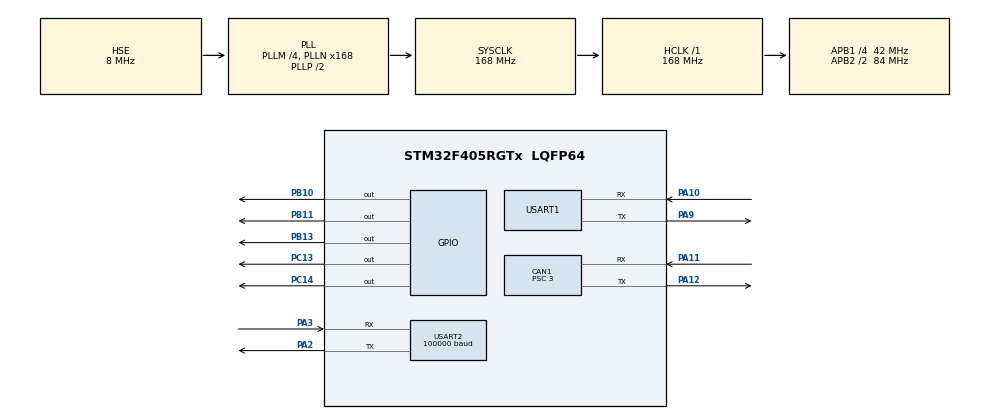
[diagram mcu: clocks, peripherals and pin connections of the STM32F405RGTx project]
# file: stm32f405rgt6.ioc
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CAN1.ABOM=ENABLE
CAN1.BS1=CAN_BS1_9TQ
CAN1.BS2=CAN_BS2_4TQ
CAN1.CalculateBaudRate=1000000
CAN1.CalculateTimeBit=1000
CAN1.CalculateTimeQuantum=71.42857142857143
CAN1.Mode=CAN_MODE_NORMAL
CAN1.Prescaler=3
Dma.Request0=USART2_RX
Dma.Request1=USART2_TX
Dma.Request2=USART1_RX
Dma.Request3=USART1_TX
Dma.USART1_RX.2.Direction=DMA_PERIPH_TO_MEMORY
Dma.USART1_RX.2.FIFOMode=DMA_FIFOMODE_DISABLE
Dma.USART1_RX.2.Instance=DMA2_Stream2
Dma.USART1_RX.2.MemDataAlignment=DMA_MDATAALIGN_BYTE
Dma.USART1_RX.2.MemInc=DMA_MINC_ENABLE
Dma.USART1_RX.2.Mode=DMA_NORMAL
Dma.USART1_RX.2.PeriphDataAlignment=DMA_PDATAALIGN_BYTE
Dma.USART1_RX.2.PeriphInc=DMA_PINC_DISABLE
Dma.USART1_RX.2.Priority=DMA_PRIORITY_LOW
Dma.USART1_TX.3.Direction=DMA_MEMORY_TO_PERIPH
Dma.USART1_TX.3.FIFOMode=DMA_FIFOMODE_DISABLE
Dma.USART1_TX.3.Instance=DMA2_Stream7
Dma.USART1_TX.3.MemDataAlignment=DMA_MDATAALIGN_BYTE
Dma.USART1_TX.3.MemInc=DMA_MINC_ENABLE
Dma.USART1_TX.3.Mode=DMA_NORMAL
Dma.USART1_TX.3.PeriphDataAlignment=DMA_PDATAALIGN_BYTE
Dma.USART1_TX.3.PeriphInc=DMA_PINC_DISABLE
Dma.USART1_TX.3.Priority=DMA_PRIORITY_LOW
Dma.USART2_RX.0.Direction=DMA_PERIPH_TO_MEMORY
Dma.USART2_RX.0.FIFOMode=DMA_FIFOMODE_DISABLE
Dma.USART2_RX.0.Instance=DMA1_Stream5
Dma.USART2_RX.0.MemDataAlignment=DMA_MDATAALIGN_BYTE
Dma.USART2_RX.0.MemInc=DMA_MINC_ENABLE
Dma.USART2_RX.0.Mode=DMA_CIRCULAR
Dma.USART2_RX.0.PeriphDataAlignment=DMA_PDATAALIGN_BYTE
Dma.USART2_RX.0.PeriphInc=DMA_PINC_DISABLE
Dma.USART2_RX.0.Priority=DMA_PRIORITY_LOW
Dma.USART2_TX.1.Direction=DMA_MEMORY_TO_PERIPH
Dma.USART2_TX.1.FIFOMode=DMA_FIFOMODE_DISABLE
Dma.USART2_TX.1.Instance=DMA1_Stream6
Dma.USART2_TX.1.MemDataAlignment=DMA_MDATAALIGN_BYTE
Dma.USART2_TX.1.MemInc=DMA_MINC_ENABLE
Dma.USART2_TX.1.Mode=DMA_NORMAL
Dma.USART2_TX.1.PeriphDataAlignment=DMA_PDATAALIGN_BYTE
Dma.USART2_TX.1.PeriphInc=DMA_PINC_DISABLE
Dma.USART2_TX.1.Priority=DMA_PRIORITY_LOW
FREERTOS.INCLUDE_vTaskDelayUntil=1
FREERTOS.Queues01=led_control_queue,5,2,1,Static,led_control_queueBuffer,led_control_queueControlBlock;can_rx_queue,5,9,1,Dynamic,NULL,NULL
FREERTOS.Tasks01=defaultTask,-3,128,StartDefaultTask,Default,NULL,Dynamic,NULL,NULL;breathing_led_t,-3,128,led_breath,As weak,NULL,Dynamic,NULL,NULL;mpu_read_task,0,128,mpu6050_read,As weak,NULL,Dynamic,NULL,NULL;can1_rx_task,1,128,can1_rx,As weak,NULL,Dynamic,NULL,NULL;sbus_rx_task,2,128,sbus_receive,As weak,NULL,Dynamic,NULL,NULL;bopan_motor_tas,-1,128,bopan_motor_set,As weak,NULL,Dynamic,NULL,NULL
Mcu.Family=STM32F4
Mcu.Name=STM32F405RGTx
Mcu.Package=LQFP64
NVIC.CAN1_RX0_IRQn=true\:5\:0\:true\:false\:true\:true\:true\:true\:true
NVIC.DMA1_Stream5_IRQn=true\:6\:0\:true\:false\:true\:true\:false\:true\:true
NVIC.DMA1_Stream6_IRQn=true\:6\:0\:true\:false\:true\:true\:false\:true\:true
NVIC.DMA2_Stream2_IRQn=true\:5\:0\:false\:false\:true\:true\:false\:true\:true
NVIC.DMA2_Stream7_IRQn=true\:5\:0\:false\:false\:true\:true\:false\:true\:true
NVIC.PriorityGroup=NVIC_PRIORITYGROUP_4
NVIC.TIM5_IRQn=true\:15\:0\:true\:false\:true\:false\:true\:true\:true
NVIC.TIM6_DAC_IRQn=true\:0\:0\:true\:false\:true\:false\:false\:true\:true
NVIC.TimeBase=TIM6_DAC_IRQn
NVIC.TimeBaseIP=TIM6
NVIC.USART1_IRQn=true\:5\:0\:false\:false\:true\:true\:true\:true\:true
NVIC.USART2_IRQn=true\:7\:0\:true\:false\:true\:true\:true\:true\:true
PA10.Mode=Asynchronous
PA10.Signal=USART1_RX
PA11.GPIO_PuPd=GPIO_PULLUP
PA11.Mode=CAN_Activate
PA11.Signal=CAN1_RX
PA12.Mode=CAN_Activate
PA12.Signal=CAN1_TX
PA13.Mode=Serial_Wire
PA13.Signal=SYS_JTMS-SWDIO
PA14.Mode=Serial_Wire
PA14.Signal=SYS_JTCK-SWCLK
PA2.Mode=Asynchronous
PA2.Signal=USART2_TX
PA3.Mode=Asynchronous
PA3.Signal=USART2_RX
PA9.Mode=Asynchronous
PA9.Signal=USART1_TX
PB10.Signal=GPIO_Output
PB11.Signal=GPIO_Output
PB13.Signal=GPIO_Output
PC13-ANTI_TAMP.Signal=GPIO_Output
PC14-OSC32_IN.PinState=GPIO_PIN_SET
PC14-OSC32_IN.Signal=GPIO_Output
PH0-OSC_IN.Mode=HSE-External-Oscillator
PH0-OSC_IN.Signal=RCC_OSC_IN
PH1-OSC_OUT.Mode=HSE-External-Oscillator
PH1-OSC_OUT.Signal=RCC_OSC_OUT
ProjectManager.HeapSize=0x800
ProjectManager.StackSize=0x1200
ProjectManager.TargetToolchain=MDK-ARM V5.32
RCC.48MHZClocksFreq_Value=84000000
RCC.AHBFreq_Value=168000000
RCC.APB1CLKDivider=RCC_HCLK_DIV4
RCC.APB1Freq_Value=42000000
RCC.APB1TimFreq_Value=84000000
RCC.APB2CLKDivider=RCC_HCLK_DIV2
RCC.APB2Freq_Value=84000000
RCC.APB2TimFreq_Value=168000000
RCC.CortexFreq_Value=168000000
RCC.HCLKFreq_Value=168000000
RCC.HSE_VALUE=8000000
RCC.HSI_VALUE=16000000
RCC.LSE_VALUE=32768
RCC.PLLM=4
RCC.PLLN=168
RCC.PLLSourceVirtual=RCC_PLLSOURCE_HSE
RCC.SYSCLKFreq_VALUE=168000000
RCC.SYSCLKSource=RCC_SYSCLKSOURCE_PLLCLK
RCC.VCOOutputFreq_Value=336000000
TIM5.Period=10-1
TIM5.Prescaler=168-1
USART1.VirtualMode=VM_ASYNC
USART2.BaudRate=100000
USART2.Mode=MODE_TX_RX
USART2.Parity=PARITY_NONE
USART2.VirtualMode=VM_ASYNC
USART2.WordLength=WORDLENGTH_9B
VP_FREERTOS_VS_CMSIS_V1.Mode=CMSIS_V1
VP_SYS_VS_tim6.Mode=TIM6
VP_TIM5_VS_ClockSourceINT.Mode=Internal
board=custom

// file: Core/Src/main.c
/* USER CODE BEGIN Header */
/**
  ******************************************************************************
  * @file           : main.c
  * @brief          : Main program body
  ******************************************************************************
  * @attention
  *
  * Copyright (c) 2025 STMicroelectronics.
  * All rights reserved.
  *
  * This software is licensed under terms that can be found in the LICENSE file
  * in the root directory of this software component.
  * If no LICENSE file comes with this software, it is provided AS-IS.
  *
  ******************************************************************************
  */
/* USER CODE END Header */
#include "main.h"
#include "cmsis_os.h"
#include "can.h"
#include "dma.h"
#include "tim.h"
#include "usart.h"
#include "gpio.h"

/* USER CODE BEGIN Includes */
#include "ble.h"
#include "inv_mpu.h"
#include "bsp_can.h"
#include "task_self.h"
#include "SEGGER_SYSVIEW.h"
/* USER CODE END Includes */

void SystemClock_Config(void);
void MX_FREERTOS_Init(void);

int main(void)
{

  /* MCU Configuration--------------------------------------------------------*/

  /* Reset of all peripherals, Initializes the Flash interface and the Systick. */
  HAL_Init();

  /* Configure the system clock */
  SystemClock_Config();

  /* Initialize all configured peripherals */
  MX_GPIO_Init();
  MX_DMA_Init();
  MX_USART1_UART_Init();
  MX_TIM5_Init();
  MX_CAN1_Init();
  MX_USART2_UART_Init();
  /* USER CODE BEGIN 2 */
	//1.串口
	ble_Init();
	//2.pwm
	HAL_TIM_Base_Start_IT(&htim5);

	//3.mpu
	//MPU_Init();
    //由于自己的开发版没有板载MPU6050,故注释掉相关初始化代码
	//mpu_dmp_init();
	//4.can
	can1_filter_init();
	can2_filter_init();

    // 5. 启动 SystemView 记录
    // 建议加一个判断，只有在连接了调试器时才记录，避免不调试时占资源（可选）
    SEGGER_SYSVIEW_Conf();  // 配置
    //SEGGER_SYSVIEW_Start(); // 启动
  /* USER CODE END 2 */

  /* Call init function for freertos objects (in cmsis_os2.c) */
  MX_FREERTOS_Init();

  /* Start scheduler */
  osKernelStart();

  /* We should never get here as control is now taken by the scheduler */

  /* Infinite loop */
  while (1)
  {

  }
}

void SystemClock_Config(void)
{
  RCC_OscInitTypeDef RCC_OscInitStruct = {0};
  RCC_ClkInitTypeDef RCC_ClkInitStruct = {0};

  /** Configure the main internal regulator output voltage
  */
  __HAL_RCC_PWR_CLK_ENABLE();
  __HAL_PWR_VOLTAGESCALING_CONFIG(PWR_REGULATOR_VOLTAGE_SCALE1);

  /** Initializes the RCC Oscillators according to the specified parameters
  * in the RCC_OscInitTypeDef structure.
  */
  RCC_OscInitStruct.OscillatorType = RCC_OSCILLATORTYPE_HSE;
  RCC_OscInitStruct.HSEState = RCC_HSE_ON;
  RCC_OscInitStruct.PLL.PLLState = RCC_PLL_ON;
  RCC_OscInitStruct.PLL.PLLSource = RCC_PLLSOURCE_HSE;
  RCC_OscInitStruct.PLL.PLLM = 4;
  RCC_OscInitStruct.PLL.PLLN = 168;
  RCC_OscInitStruct.PLL.PLLP = RCC_PLLP_DIV2;
  RCC_OscInitStruct.PLL.PLLQ = 4;
  if (HAL_RCC_OscConfig(&RCC_OscInitStruct) != HAL_OK)
  {
    Error_Handler();
  }

  /** Initializes the CPU, AHB and APB buses clocks
  */
  RCC_ClkInitStruct.ClockType = RCC_CLOCKTYPE_HCLK|RCC_CLOCKTYPE_SYSCLK
                              |RCC_CLOCKTYPE_PCLK1|RCC_CLOCKTYPE_PCLK2;
  RCC_ClkInitStruct.SYSCLKSource = RCC_SYSCLKSOURCE_PLLCLK;
  RCC_ClkInitStruct.AHBCLKDivider = RCC_SYSCLK_DIV1;
  RCC_ClkInitStruct.APB1CLKDivider = RCC_HCLK_DIV4;
  RCC_ClkInitStruct.APB2CLKDivider = RCC_HCLK_DIV2;

  if (HAL_RCC_ClockConfig(&RCC_ClkInitStruct, FLASH_LATENCY_5) != HAL_OK)
  {
    Error_Handler();
  }
}

void HAL_TIM_PeriodElapsedCallback(TIM_HandleTypeDef *htim)
{
  if (htim->Instance == TIM6)
  {
    HAL_IncTick();
  }
  /* USER CODE BEGIN Callback 1 */
 if (htim->Instance == TIM5)
	{
		//led_pwm软件,tim_f=1mhz/10=100khz,pwm_f=100khz/100=1khz
		static uint8_t pwm_counter = 0;
		if (pwm_counter < g_led_brightness) {
				//HAL_GPIO_WritePin(GPIOC, GPIO_PIN_13, GPIO_PIN_RESET);
				HAL_GPIO_WritePin(GPIOB, GPIO_PIN_13, GPIO_PIN_RESET);
		}
		else {
				//HAL_GPIO_WritePin(GPIOC, GPIO_PIN_13, GPIO_PIN_SET);
				HAL_GPIO_WritePin(GPIOB, GPIO_PIN_13, GPIO_PIN_SET);
		}
		pwm_counter++;
		if (pwm_counter >= 100) {
				pwm_counter = 0;
		}
	}
  /* USER CODE END Callback 1 */
}

void Error_Handler(void)
{
  __disable_irq();
  while (1)
  {
  }
}

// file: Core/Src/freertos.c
/* USER CODE BEGIN Header */
/**
  ******************************************************************************
  * File Name          : freertos.c
  * Description        : Code for freertos applications
  ******************************************************************************
  * @attention
  *
  * Copyright (c) 2025 STMicroelectronics.
  * All rights reserved.
  *
  * This software is licensed under terms that can be found in the LICENSE file
  * in the root directory of this software component.
  * If no LICENSE file comes with this software, it is provided AS-IS.
  *
  ******************************************************************************
  */
/* USER CODE END Header */

#include "FreeRTOS.h"
#include "task.h"
#include "main.h"
#include "cmsis_os.h"

osThreadId defaultTaskHandle;
osThreadId breathing_led_tHandle;
osThreadId mpu_read_taskHandle;
osThreadId can1_rx_taskHandle;
osThreadId sbus_rx_taskHandle;
osThreadId bopan_motor_tasHandle;
osMessageQId led_control_queueHandle;
uint8_t led_control_queueBuffer[ 5 * 2 ];
osStaticMessageQDef_t led_control_queueControlBlock;
osMessageQId can_rx_queueHandle;

void StartDefaultTask(void const * argument);
void led_breath(void const * argument);
void mpu6050_read(void const * argument);
void can1_rx(void const * argument);
void sbus_receive(void const * argument);
void bopan_motor_set(void const * argument);

void MX_FREERTOS_Init(void); /* (MISRA C 2004 rule 8.1) */

/* GetIdleTaskMemory prototype (linked to static allocation support) */
void vApplicationGetIdleTaskMemory( StaticTask_t **ppxIdleTaskTCBBuffer, StackType_t **ppxIdleTaskStackBuffer, uint32_t *pulIdleTaskStackSize );

/* USER CODE BEGIN GET_IDLE_TASK_MEMORY */
static StaticTask_t xIdleTaskTCBBuffer;
static StackType_t xIdleStack[configMINIMAL_STACK_SIZE];

void vApplicationGetIdleTaskMemory( StaticTask_t **ppxIdleTaskTCBBuffer, StackType_t **ppxIdleTaskStackBuffer, uint32_t *pulIdleTaskStackSize )
{
  *ppxIdleTaskTCBBuffer = &xIdleTaskTCBBuffer;
  *ppxIdleTaskStackBuffer = &xIdleStack[0];
  *pulIdleTaskStackSize = configMINIMAL_STACK_SIZE;
  /* place for user code */
}
/* USER CODE END GET_IDLE_TASK_MEMORY */

void MX_FREERTOS_Init(void) {

  /* Create the queue(s) */
  /* definition and creation of led_control_queue */
  osMessageQStaticDef(led_control_queue, 5, 2, led_control_queueBuffer, &led_control_queueControlBlock);
  led_control_queueHandle = osMessageCreate(osMessageQ(led_control_queue), NULL);

  /* definition and creation of can_rx_queue */
  osMessageQDef(can_rx_queue, 5, 9);
  can_rx_queueHandle = osMessageCreate(osMessageQ(can_rx_queue), NULL);

  /* Create the thread(s) */
  /* definition and creation of defaultTask */
  osThreadDef(defaultTask, StartDefaultTask, osPriorityIdle, 0, 128);
  defaultTaskHandle = osThreadCreate(osThread(defaultTask), NULL);

  /* definition and creation of breathing_led_t */
  osThreadDef(breathing_led_t, led_breath, osPriorityIdle, 0, 128);
  breathing_led_tHandle = osThreadCreate(osThread(breathing_led_t), NULL);

  /* definition and creation of mpu_read_task */
  osThreadDef(mpu_read_task, mpu6050_read, osPriorityNormal, 0, 512);
  mpu_read_taskHandle = osThreadCreate(osThread(mpu_read_task), NULL);

  /* definition and creation of can1_rx_task */
  osThreadDef(can1_rx_task, can1_rx, osPriorityAboveNormal, 0, 128);
  can1_rx_taskHandle = osThreadCreate(osThread(can1_rx_task), NULL);

  /* definition and creation of sbus_rx_task */
  osThreadDef(sbus_rx_task, sbus_receive, osPriorityHigh, 0, 128);
  sbus_rx_taskHandle = osThreadCreate(osThread(sbus_rx_task), NULL);

  /* definition and creation of bopan_motor_tas */
  osThreadDef(bopan_motor_tas, bopan_motor_set, osPriorityBelowNormal, 0, 128);
  bopan_motor_tasHandle = osThreadCreate(osThread(bopan_motor_tas), NULL);

}

void StartDefaultTask(void const * argument)
{
  /* USER CODE BEGIN StartDefaultTask */
  /* Infinite loop */
  for(;;)
  {
    osDelay(1000);
  }
  /* USER CODE END StartDefaultTask */
}

__weak void led_breath(void const * argument)
{
  for(;;)
  {
    osDelay(1);
  }
}

__weak void mpu6050_read(void const * argument)
{
  for(;;)
  {
    osDelay(1);
  }
}

__weak void can1_rx(void const * argument)
{
  for(;;)
  {
    osDelay(1);
  }
}

__weak void sbus_receive(void const * argument)
{
  for(;;)
  {
    osDelay(1);
  }
}

__weak void bopan_motor_set(void const * argument)
{
  for(;;)
  {
    osDelay(1);
  }
}
